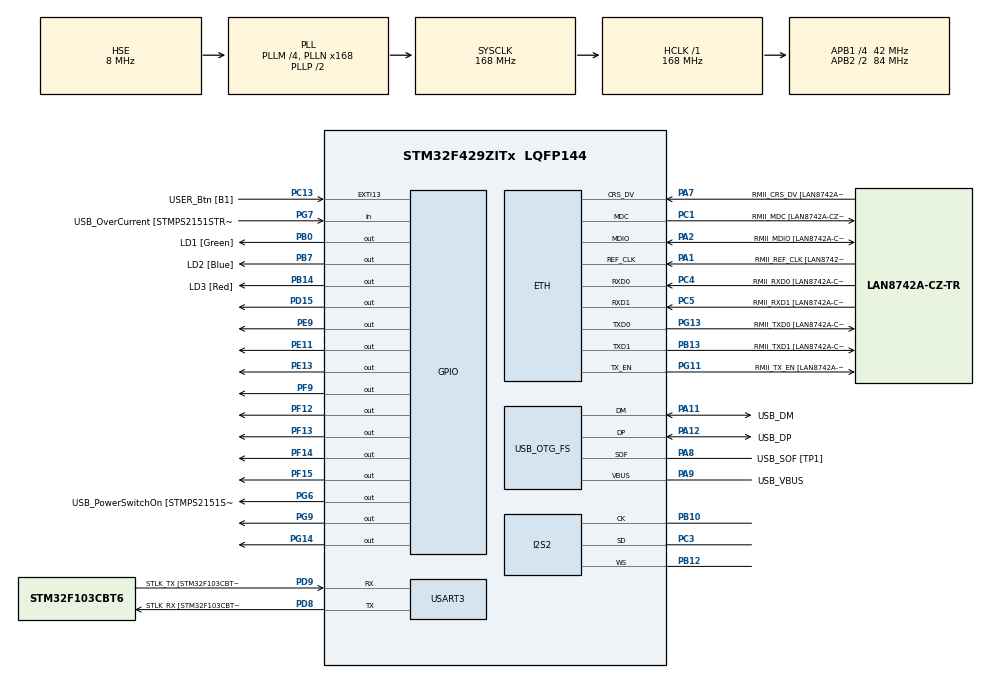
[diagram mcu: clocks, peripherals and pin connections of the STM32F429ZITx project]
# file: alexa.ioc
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Dma.Request0=SPI2_RX
Dma.SPI2_RX.0.Direction=DMA_PERIPH_TO_MEMORY
Dma.SPI2_RX.0.FIFOMode=DMA_FIFOMODE_DISABLE
Dma.SPI2_RX.0.Instance=DMA1_Stream3
Dma.SPI2_RX.0.MemDataAlignment=DMA_MDATAALIGN_HALFWORD
Dma.SPI2_RX.0.MemInc=DMA_MINC_ENABLE
Dma.SPI2_RX.0.Mode=DMA_CIRCULAR
Dma.SPI2_RX.0.PeriphDataAlignment=DMA_PDATAALIGN_HALFWORD
Dma.SPI2_RX.0.PeriphInc=DMA_PINC_DISABLE
Dma.SPI2_RX.0.Priority=DMA_PRIORITY_HIGH
ETH.MediaInterface=HAL_ETH_RMII_MODE
ETH.PHY_Name=LAN8742A_PHY_ADDRESS
ETH.PHY_Value=0
ETH.PhyAddress=0
I2S2.AudioFreq=I2S_AUDIOFREQ_16K
I2S2.DataFormat=I2S_DATAFORMAT_24B
I2S2.ErrorAudioFreq=-0.26 %
I2S2.FullDuplexMode=I2S_FULLDUPLEXMODE_DISABLE
I2S2.Instance=SPI$Index
I2S2.Mode=I2S_MODE_MASTER_RX
I2S2.RealAudioFreq=15.957 KHz
I2S2.VirtualMode=I2S_MODE_MASTER
Mcu.Family=STM32F4
Mcu.Name=STM32F429ZITx
Mcu.Package=LQFP144
NVIC.DMA1_Stream3_IRQn=true\:0\:0\:false\:false\:true\:false\:true\:true
NVIC.EXTI15_10_IRQn=true\:0\:0\:false\:false\:true\:true\:true\:true
NVIC.PriorityGroup=NVIC_PRIORITYGROUP_4
PA1.GPIO_Label=RMII_REF_CLK [LAN8742A-CZ-TR_REFCLK0]
PA1.Mode=RMII
PA1.Signal=ETH_REF_CLK
PA10.GPIO_Label=USB_ID
PA10.Signal=USB_OTG_FS_ID
PA11.GPIO_Label=USB_DM
PA11.Mode=Device_Only
PA11.Signal=USB_OTG_FS_DM
PA12.GPIO_Label=USB_DP
PA12.Mode=Device_Only
PA12.Signal=USB_OTG_FS_DP
PA13.GPIO_Label=TMS
PA13.Mode=Serial_Wire
PA13.Signal=SYS_JTMS-SWDIO
PA14.GPIO_Label=TCK
PA14.Mode=Serial_Wire
PA14.Signal=SYS_JTCK-SWCLK
PA2.GPIO_Label=RMII_MDIO [LAN8742A-CZ-TR_MDIO]
PA2.Mode=RMII
PA2.Signal=ETH_MDIO
PA7.GPIO_Label=RMII_CRS_DV [LAN8742A-CZ-TR_CRS_DV]
PA7.Mode=RMII
PA7.Signal=ETH_CRS_DV
PA8.GPIO_Label=USB_SOF [TP1]
PA8.Mode=Activate_SOF_FS
PA8.Signal=USB_OTG_FS_SOF
PA9.GPIO_Label=USB_VBUS
PA9.Mode=Activate_VBUS
PA9.Signal=USB_OTG_FS_VBUS
PB0.GPIO_Label=LD1 [Green]
PB0.Signal=GPIO_Output
PB10.Mode=Half_Duplex_Master
PB10.Signal=I2S2_CK
PB12.Mode=Half_Duplex_Master
PB12.Signal=I2S2_WS
PB13.GPIO_Label=RMII_TXD1 [LAN8742A-CZ-TR_TXD1]
PB13.Mode=RMII
PB13.Signal=ETH_TXD1
PB14.GPIO_Label=LD3 [Red]
PB14.Signal=GPIO_Output
PB7.GPIO_Label=LD2 [Blue]
PB7.Signal=GPIO_Output
PC1.GPIO_Label=RMII_MDC [LAN8742A-CZ-TR_MDC]
PC1.Mode=RMII
PC1.Signal=ETH_MDC
PC13.GPIO_Label=USER_Btn [B1]
PC13.Signal=GPXTI13
PC14/OSC32_IN.Mode=LSE-External-Oscillator
PC14/OSC32_IN.Signal=RCC_OSC32_IN
PC15/OSC32_OUT.Mode=LSE-External-Oscillator
PC15/OSC32_OUT.Signal=RCC_OSC32_OUT
PC3.Mode=Half_Duplex_Master
PC3.Signal=I2S2_SD
PC4.GPIO_Label=RMII_RXD0 [LAN8742A-CZ-TR_RXD0]
PC4.Mode=RMII
PC4.Signal=ETH_RXD0
PC5.GPIO_Label=RMII_RXD1 [LAN8742A-CZ-TR_RXD1]
PC5.Mode=RMII
PC5.Signal=ETH_RXD1
PD15.Signal=GPIO_Output
PD8.GPIO_Label=STLK_RX [STM32F103CBT6_PA3]
PD8.Mode=Asynchronous
PD8.Signal=USART3_TX
PD9.GPIO_Label=STLK_TX [STM32F103CBT6_PA2]
PD9.Mode=Asynchronous
PD9.Signal=USART3_RX
PE11.Signal=GPIO_Output
PE13.Signal=GPIO_Output
PE9.Signal=GPIO_Output
PF12.Signal=GPIO_Output
PF13.Signal=GPIO_Output
PF14.Signal=GPIO_Output
PF15.Signal=GPIO_Output
PF9.Signal=GPIO_Output
PG11.GPIO_Label=RMII_TX_EN [LAN8742A-CZ-TR_TXEN]
PG11.Mode=RMII
PG11.Signal=ETH_TX_EN
PG13.GPIO_Label=RMII_TXD0 [LAN8742A-CZ-TR_TXD0]
PG13.Mode=RMII
PG13.Signal=ETH_TXD0
PG14.Signal=GPIO_Output
PG6.GPIO_Label=USB_PowerSwitchOn [STMPS2151STR_EN]
PG6.Signal=GPIO_Output
PG7.GPIO_Label=USB_OverCurrent [STMPS2151STR_FAULT]
PG7.Signal=GPIO_Input
PG9.Signal=GPIO_Output
PH0/OSC_IN.GPIO_Label=MCO [STM32F103CBT6_PA8]
PH0/OSC_IN.Mode=HSE-External-Clock-Source
PH0/OSC_IN.Signal=RCC_OSC_IN
PH1/OSC_OUT.Mode=HSE-External-Clock-Source
PH1/OSC_OUT.Signal=RCC_OSC_OUT
ProjectManager.HeapSize=0x200
ProjectManager.StackSize=0x400
ProjectManager.TargetToolchain=STM32CubeIDE
RCC.48MHZClocksFreq_Value=48000000
RCC.AHBFreq_Value=168000000
RCC.APB1CLKDivider=RCC_HCLK_DIV4
RCC.APB1Freq_Value=42000000
RCC.APB1TimFreq_Value=84000000
RCC.APB2CLKDivider=RCC_HCLK_DIV2
RCC.APB2Freq_Value=84000000
RCC.APB2TimCLKDivider=2
RCC.APB2TimFreq_Value=168000000
RCC.CortexFreq_Value=168000000
RCC.HCLKFreq_Value=168000000
RCC.HSE_VALUE=8000000
RCC.HSI_VALUE=16000000
RCC.PLLM=4
RCC.PLLMUL=RCC_PLL_MUL9
RCC.PLLN=168
RCC.PLLQ=7
RCC.PRESCALERUSB=RCC_USBCLKSOURCE_PLL_DIV1_5
RCC.SYSCLKFreq_VALUE=168000000
RCC.SYSCLKSource=RCC_SYSCLKSOURCE_PLLCLK
RCC.SYSCLKSourceVirtual=RCC_SYSCLKSOURCE_PLLCLK
RCC.USBFreq_Value=48000000
RCC.VCOOutputFreq_Value=336000000
TIM4.Period=65535
TIM4.Prescaler=83
USART3.VirtualMode=VM_ASYNC
USB_OTG_FS.VirtualMode=Device_Only
VP_TIM4_VS_ClockSourceINT.Mode=Internal
board=NUCLEO-F429ZI

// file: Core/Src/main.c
/* USER CODE BEGIN Header */
/**
  ******************************************************************************
  * @file           : main.c
  * @brief          : Main program body
  ******************************************************************************
  * @attention
  *
  * Copyright (c) 2025 STMicroelectronics.
  * All rights reserved.
  *
  * This software is licensed under terms that can be found in the LICENSE file
  * in the root directory of this software component.
  * If no LICENSE file comes with this software, it is provided AS-IS.
  *
  ******************************************************************************
  */
/* USER CODE END Header */
#include "main.h"
#include "string.h"

/* USER CODE BEGIN Includes */
#include "led_array.h"
#include "timer.h"
#include "transmit.h"
#include "my_main.h"
/* USER CODE END Includes */

ETH_TxPacketConfig TxConfig;
ETH_DMADescTypeDef  DMARxDscrTab[ETH_RX_DESC_CNT]; /* Ethernet Rx DMA Descriptors */
ETH_DMADescTypeDef  DMATxDscrTab[ETH_TX_DESC_CNT]; /* Ethernet Tx DMA Descriptors */

ETH_HandleTypeDef heth;

I2S_HandleTypeDef hi2s2;
DMA_HandleTypeDef hdma_spi2_rx;

TIM_HandleTypeDef htim4;

UART_HandleTypeDef huart3;

PCD_HandleTypeDef hpcd_USB_OTG_FS;

void SystemClock_Config(void);
static void MX_GPIO_Init(void);
static void MX_DMA_Init(void);
static void MX_ETH_Init(void);
static void MX_USART3_UART_Init(void);
static void MX_USB_OTG_FS_PCD_Init(void);
static void MX_TIM4_Init(void);
static void MX_I2S2_Init(void);

/* USER CODE BEGIN 0 */
int flag = 1;
uint16_t on_sequence = 0b111111000010;
uint16_t off_sequence = 0b111111000001;
/* USER CODE END 0 */

int main(void)
{

  /* MCU Configuration--------------------------------------------------------*/

  /* Reset of all peripherals, Initializes the Flash interface and the Systick. */
  HAL_Init();

  /* Configure the system clock */
  SystemClock_Config();

  /* Initialize all configured peripherals */
  MX_GPIO_Init();
  MX_DMA_Init();
  MX_ETH_Init();
  MX_USART3_UART_Init();
  MX_USB_OTG_FS_PCD_Init();
  MX_TIM4_Init();
  MX_I2S2_Init();
  /* USER CODE BEGIN 2 */
  HAL_TIM_Base_Start(&htim4);

  // Mikrofon DMA başlat
  extern uint16_t buffer_input[2000];
  HAL_I2S_Receive_DMA(&hi2s2, buffer_input, 2000);
  /* USER CODE END 2 */

  /* Infinite loop */
  /* USER CODE BEGIN WHILE */
  // sendSequence(off_sequence);
  while (1)
  {
	 my_main();
	  for(int i = 0; i <= 10; i++ ){
		  led_func(i);
		  delayMicroseconds(50000);
		  delayMicroseconds(50000);

		  delayMicroseconds(50000);

		  delayMicroseconds(50000);

		  //HAL_Delay(100);
		   }

		  /*HAL_GPIO_WritePin(GPIOF,GPIO_PIN_9,GPIO_PIN_SET);
		  for(int i = 0 ; i < 20; i++)
			  delayMicroseconds(50000);
		  HAL_GPIO_WritePin(GPIOF,GPIO_PIN_9,GPIO_PIN_RESET);
		  for(int i = 0 ; i < 20; i++)
			  delayMicroseconds(50000);
			*/

	  /*sendSequence(off_sequence);
	  HAL_Delay(10000);
	  sendSequence(on_sequence);
	  HAL_Delay(10000);
	*/

    /* USER CODE END WHILE */

  }
}

void SystemClock_Config(void)
{
  RCC_OscInitTypeDef RCC_OscInitStruct = {0};
  RCC_ClkInitTypeDef RCC_ClkInitStruct = {0};

  /** Configure the main internal regulator output voltage
  */
  __HAL_RCC_PWR_CLK_ENABLE();
  __HAL_PWR_VOLTAGESCALING_CONFIG(PWR_REGULATOR_VOLTAGE_SCALE1);

  /** Initializes the RCC Oscillators according to the specified parameters
  * in the RCC_OscInitTypeDef structure.
  */
  RCC_OscInitStruct.OscillatorType = RCC_OSCILLATORTYPE_HSE;
  RCC_OscInitStruct.HSEState = RCC_HSE_BYPASS;
  RCC_OscInitStruct.PLL.PLLState = RCC_PLL_ON;
  RCC_OscInitStruct.PLL.PLLSource = RCC_PLLSOURCE_HSE;
  RCC_OscInitStruct.PLL.PLLM = 4;
  RCC_OscInitStruct.PLL.PLLN = 168;
  RCC_OscInitStruct.PLL.PLLP = RCC_PLLP_DIV2;
  RCC_OscInitStruct.PLL.PLLQ = 7;
  if (HAL_RCC_OscConfig(&RCC_OscInitStruct) != HAL_OK)
  {
    Error_Handler();
  }

  /** Initializes the CPU, AHB and APB buses clocks
  */
  RCC_ClkInitStruct.ClockType = RCC_CLOCKTYPE_HCLK|RCC_CLOCKTYPE_SYSCLK
                              |RCC_CLOCKTYPE_PCLK1|RCC_CLOCKTYPE_PCLK2;
  RCC_ClkInitStruct.SYSCLKSource = RCC_SYSCLKSOURCE_PLLCLK;
  RCC_ClkInitStruct.AHBCLKDivider = RCC_SYSCLK_DIV1;
  RCC_ClkInitStruct.APB1CLKDivider = RCC_HCLK_DIV4;
  RCC_ClkInitStruct.APB2CLKDivider = RCC_HCLK_DIV2;

  if (HAL_RCC_ClockConfig(&RCC_ClkInitStruct, FLASH_LATENCY_5) != HAL_OK)
  {
    Error_Handler();
  }
}

static void MX_ETH_Init(void)
{

   static uint8_t MACAddr[6];

  heth.Instance = ETH;
  MACAddr[0] = 0x00;
  MACAddr[1] = 0x80;
  MACAddr[2] = 0xE1;
  MACAddr[3] = 0x00;
  MACAddr[4] = 0x00;
  MACAddr[5] = 0x00;
  heth.Init.MACAddr = &MACAddr[0];
  heth.Init.MediaInterface = HAL_ETH_RMII_MODE;
  heth.Init.TxDesc = DMATxDscrTab;
  heth.Init.RxDesc = DMARxDscrTab;
  heth.Init.RxBuffLen = 1524;

  if (HAL_ETH_Init(&heth) != HAL_OK)
  {
    Error_Handler();
  }

  memset(&TxConfig, 0 , sizeof(ETH_TxPacketConfig));
  TxConfig.Attributes = ETH_TX_PACKETS_FEATURES_CSUM | ETH_TX_PACKETS_FEATURES_CRCPAD;
  TxConfig.ChecksumCtrl = ETH_CHECKSUM_IPHDR_PAYLOAD_INSERT_PHDR_CALC;
  TxConfig.CRCPadCtrl = ETH_CRC_PAD_INSERT;

}

static void MX_I2S2_Init(void)
{

  hi2s2.Instance = SPI2;
  hi2s2.Init.Mode = I2S_MODE_MASTER_RX;
  hi2s2.Init.Standard = I2S_STANDARD_PHILIPS;
  hi2s2.Init.DataFormat = I2S_DATAFORMAT_24B;
  hi2s2.Init.MCLKOutput = I2S_MCLKOUTPUT_DISABLE;
  hi2s2.Init.AudioFreq = I2S_AUDIOFREQ_16K;
  hi2s2.Init.CPOL = I2S_CPOL_LOW;
  hi2s2.Init.ClockSource = I2S_CLOCK_PLL;
  hi2s2.Init.FullDuplexMode = I2S_FULLDUPLEXMODE_DISABLE;
  if (HAL_I2S_Init(&hi2s2) != HAL_OK)
  {
    Error_Handler();
  }

}

static void MX_TIM4_Init(void)
{

  TIM_ClockConfigTypeDef sClockSourceConfig = {0};
  TIM_MasterConfigTypeDef sMasterConfig = {0};

  htim4.Instance = TIM4;
  htim4.Init.Prescaler = 83;
  htim4.Init.CounterMode = TIM_COUNTERMODE_UP;
  htim4.Init.Period = 65535;
  htim4.Init.ClockDivision = TIM_CLOCKDIVISION_DIV1;
  htim4.Init.AutoReloadPreload = TIM_AUTORELOAD_PRELOAD_DISABLE;
  if (HAL_TIM_Base_Init(&htim4) != HAL_OK)
  {
    Error_Handler();
  }
  sClockSourceConfig.ClockSource = TIM_CLOCKSOURCE_INTERNAL;
  if (HAL_TIM_ConfigClockSource(&htim4, &sClockSourceConfig) != HAL_OK)
  {
    Error_Handler();
  }
  sMasterConfig.MasterOutputTrigger = TIM_TRGO_RESET;
  sMasterConfig.MasterSlaveMode = TIM_MASTERSLAVEMODE_DISABLE;
  if (HAL_TIMEx_MasterConfigSynchronization(&htim4, &sMasterConfig) != HAL_OK)
  {
    Error_Handler();
  }

}

static void MX_USART3_UART_Init(void)
{

  huart3.Instance = USART3;
  huart3.Init.BaudRate = 115200;
  huart3.Init.WordLength = UART_WORDLENGTH_8B;
  huart3.Init.StopBits = UART_STOPBITS_1;
  huart3.Init.Parity = UART_PARITY_NONE;
  huart3.Init.Mode = UART_MODE_TX_RX;
  huart3.Init.HwFlowCtl = UART_HWCONTROL_NONE;
  huart3.Init.OverSampling = UART_OVERSAMPLING_16;
  if (HAL_UART_Init(&huart3) != HAL_OK)
  {
    Error_Handler();
  }

}

static void MX_USB_OTG_FS_PCD_Init(void)
{

  hpcd_USB_OTG_FS.Instance = USB_OTG_FS;
  hpcd_USB_OTG_FS.Init.dev_endpoints = 4;
  hpcd_USB_OTG_FS.Init.speed = PCD_SPEED_FULL;
  hpcd_USB_OTG_FS.Init.dma_enable = DISABLE;
  hpcd_USB_OTG_FS.Init.phy_itface = PCD_PHY_EMBEDDED;
  hpcd_USB_OTG_FS.Init.Sof_enable = ENABLE;
  hpcd_USB_OTG_FS.Init.low_power_enable = DISABLE;
  hpcd_USB_OTG_FS.Init.lpm_enable = DISABLE;
  hpcd_USB_OTG_FS.Init.vbus_sensing_enable = ENABLE;
  hpcd_USB_OTG_FS.Init.use_dedicated_ep1 = DISABLE;
  if (HAL_PCD_Init(&hpcd_USB_OTG_FS) != HAL_OK)
  {
    Error_Handler();
  }

}

static void MX_DMA_Init(void)
{

  /* DMA controller clock enable */
  __HAL_RCC_DMA1_CLK_ENABLE();

  /* DMA interrupt init */
  /* DMA1_Stream3_IRQn interrupt configuration */
  HAL_NVIC_SetPriority(DMA1_Stream3_IRQn, 0, 0);
  HAL_NVIC_EnableIRQ(DMA1_Stream3_IRQn);

}

static void MX_GPIO_Init(void)
{
  GPIO_InitTypeDef GPIO_InitStruct = {0};

  /* GPIO Ports Clock Enable */
  __HAL_RCC_GPIOC_CLK_ENABLE();
  __HAL_RCC_GPIOF_CLK_ENABLE();
  __HAL_RCC_GPIOH_CLK_ENABLE();
  __HAL_RCC_GPIOA_CLK_ENABLE();
  __HAL_RCC_GPIOB_CLK_ENABLE();
  __HAL_RCC_GPIOE_CLK_ENABLE();
  __HAL_RCC_GPIOD_CLK_ENABLE();
  __HAL_RCC_GPIOG_CLK_ENABLE();

  /*Configure GPIO pin Output Level */
  HAL_GPIO_WritePin(GPIOF, GPIO_PIN_9|GPIO_PIN_12|GPIO_PIN_13|GPIO_PIN_14
                          |GPIO_PIN_15, GPIO_PIN_RESET);

  /*Configure GPIO pin Output Level */
  HAL_GPIO_WritePin(GPIOB, LD1_Pin|LD3_Pin|LD2_Pin, GPIO_PIN_RESET);

  /*Configure GPIO pin Output Level */
  HAL_GPIO_WritePin(GPIOE, GPIO_PIN_9|GPIO_PIN_11|GPIO_PIN_13, GPIO_PIN_RESET);

  /*Configure GPIO pin Output Level */
  HAL_GPIO_WritePin(GPIOD, GPIO_PIN_15, GPIO_PIN_RESET);

  /*Configure GPIO pin Output Level */
  HAL_GPIO_WritePin(GPIOG, USB_PowerSwitchOn_Pin|GPIO_PIN_9|GPIO_PIN_14, GPIO_PIN_RESET);

  /*Configure GPIO pin : USER_Btn_Pin */
  GPIO_InitStruct.Pin = USER_Btn_Pin;
  GPIO_InitStruct.Mode = GPIO_MODE_IT_RISING;
  GPIO_InitStruct.Pull = GPIO_NOPULL;
  HAL_GPIO_Init(USER_Btn_GPIO_Port, &GPIO_InitStruct);

  /*Configure GPIO pins : PF9 PF12 PF13 PF14
                           PF15 */
  GPIO_InitStruct.Pin = GPIO_PIN_9|GPIO_PIN_12|GPIO_PIN_13|GPIO_PIN_14
                          |GPIO_PIN_15;
  GPIO_InitStruct.Mode = GPIO_MODE_OUTPUT_PP;
  GPIO_InitStruct.Pull = GPIO_NOPULL;
  GPIO_InitStruct.Speed = GPIO_SPEED_FREQ_LOW;
  HAL_GPIO_Init(GPIOF, &GPIO_InitStruct);

  /*Configure GPIO pins : LD1_Pin LD3_Pin LD2_Pin */
  GPIO_InitStruct.Pin = LD1_Pin|LD3_Pin|LD2_Pin;
  GPIO_InitStruct.Mode = GPIO_MODE_OUTPUT_PP;
  GPIO_InitStruct.Pull = GPIO_NOPULL;
  GPIO_InitStruct.Speed = GPIO_SPEED_FREQ_LOW;
  HAL_GPIO_Init(GPIOB, &GPIO_InitStruct);

  /*Configure GPIO pins : PE9 PE11 PE13 */
  GPIO_InitStruct.Pin = GPIO_PIN_9|GPIO_PIN_11|GPIO_PIN_13;
  GPIO_InitStruct.Mode = GPIO_MODE_OUTPUT_PP;
  GPIO_InitStruct.Pull = GPIO_NOPULL;
  GPIO_InitStruct.Speed = GPIO_SPEED_FREQ_LOW;
  HAL_GPIO_Init(GPIOE, &GPIO_InitStruct);

  /*Configure GPIO pin : PD15 */
  GPIO_InitStruct.Pin = GPIO_PIN_15;
  GPIO_InitStruct.Mode = GPIO_MODE_OUTPUT_PP;
  GPIO_InitStruct.Pull = GPIO_NOPULL;
  GPIO_InitStruct.Speed = GPIO_SPEED_FREQ_LOW;
  HAL_GPIO_Init(GPIOD, &GPIO_InitStruct);

  /*Configure GPIO pins : USB_PowerSwitchOn_Pin PG9 PG14 */
  GPIO_InitStruct.Pin = USB_PowerSwitchOn_Pin|GPIO_PIN_9|GPIO_PIN_14;
  GPIO_InitStruct.Mode = GPIO_MODE_OUTPUT_PP;
  GPIO_InitStruct.Pull = GPIO_NOPULL;
  GPIO_InitStruct.Speed = GPIO_SPEED_FREQ_LOW;
  HAL_GPIO_Init(GPIOG, &GPIO_InitStruct);

  /*Configure GPIO pin : USB_OverCurrent_Pin */
  GPIO_InitStruct.Pin = USB_OverCurrent_Pin;
  GPIO_InitStruct.Mode = GPIO_MODE_INPUT;
  GPIO_InitStruct.Pull = GPIO_NOPULL;
  HAL_GPIO_Init(USB_OverCurrent_GPIO_Port, &GPIO_InitStruct);

  /* EXTI interrupt init*/
  HAL_NVIC_SetPriority(EXTI15_10_IRQn, 0, 0);
  HAL_NVIC_EnableIRQ(EXTI15_10_IRQn);

}

/* USER CODE BEGIN 4 */
HAL_GPIO_EXTI_Callback(uint16_t GPIO_Pin){
	if(flag){
		sendSequence(off_sequence);
		flag = 0;
	}
	else{
		sendSequence(on_sequence);
		flag = 1;
	}

}
/* USER CODE END 4 */

void Error_Handler(void)
{
  __disable_irq();
  while (1)
  {
  }
}
